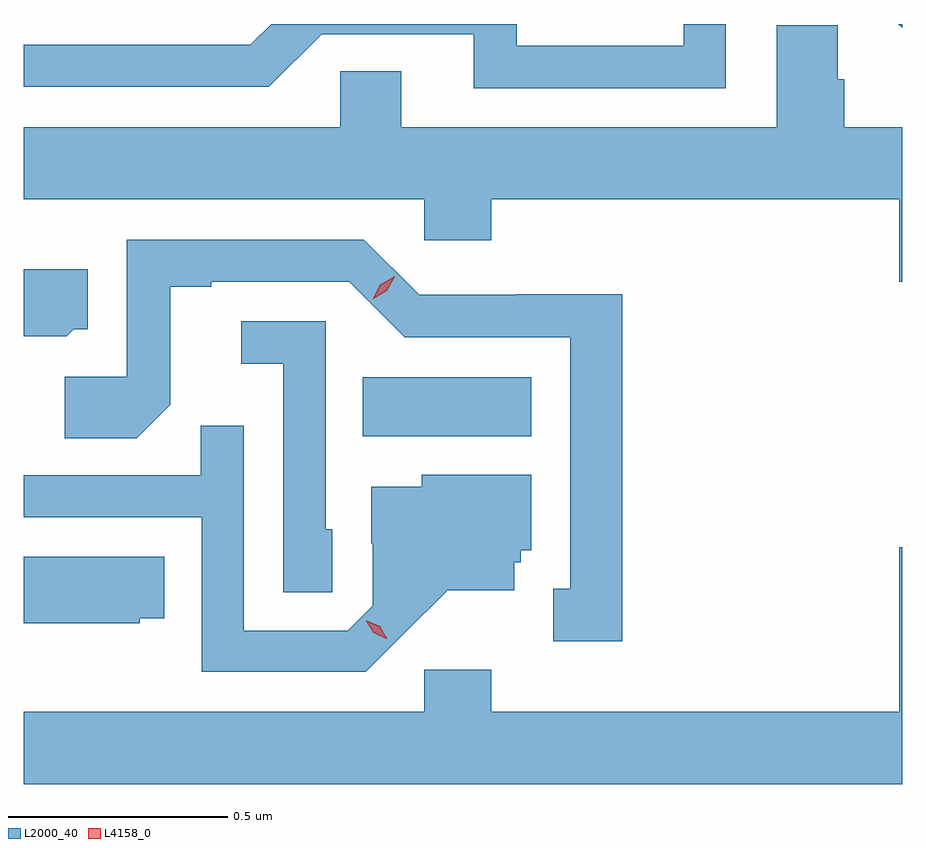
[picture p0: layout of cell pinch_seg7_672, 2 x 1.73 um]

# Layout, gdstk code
import gdstk
lib = gdstk.Library(unit=1e-6, precision=1e-09)
def R(c, l, rs):  # rectangles x0, y0, x1, y1
    for r in rs: c.add(gdstk.rectangle(r[:2], r[2:], *l))
def P(c, l, *ps):  # polygons
    for p in ps: c.add(gdstk.Polygon(p, *l))
L2000_40 = (2000, 40)
L4158_0 = (4158, 0)

pinch_seg7_672 = lib.new_cell('pinch_seg7_672')
R(pinch_seg7_672, L2000_40, [(139.81,1013.396,140.194,1013.53)])
P(pinch_seg7_672, L2000_40, [(141.038,1014.335),(141.029,1014.335),(141.038,1014.326)],
  [(140.637,1014.335),(140.541,1014.335),(140.541,1014.285),(140.16,1014.285),(140.16,1014.335),(139.601,1014.335),(139.554,1014.288),(139.038,1014.288),(139.038,1014.192),(139.596,1014.192),(139.716,1014.312),(140.063,1014.312),(140.063,1014.189),(140.637,1014.189)],
  [(141.038,1014.1),(140.906,1014.1),(140.906,1014.209),(140.892,1014.209),(140.892,1014.332),(140.753,1014.332),(140.753,1014.1),(139.897,1014.1),(139.897,1014.227),(139.758,1014.227),(139.758,1014.1),(139.038,1014.1),(139.038,1013.936),(139.95,1013.936),(139.95,1013.843),(140.102,1013.843),(140.102,1013.936),(141.032,1013.936),(141.032,1013.748),(141.038,1013.748)],
  [(140.401,1013.72),(140.16,1013.72),(140.16,1013.718),(139.938,1013.718),(139.812,1013.844),(139.272,1013.844),(139.272,1013.532),(139.131,1013.532),(139.131,1013.392),(139.295,1013.392),(139.371,1013.468),(139.371,1013.736),(139.465,1013.736),(139.465,1013.748),(139.779,1013.748),(139.905,1013.622),(140.282,1013.622),(140.282,1013.049),(140.243,1013.049),(140.243,1012.929),(140.401,1012.929)],
  [(139.152,1013.64),(139.183,1013.64),(139.183,1013.776),(139.038,1013.776),(139.038,1013.624),(139.136,1013.624)],
  [(139.74,1013.184),(139.725,1013.184),(139.725,1013.658),(139.533,1013.658),(139.533,1013.561),(139.629,1013.561),(139.629,1013.041),(139.74,1013.041)],
  [(139.9,1012.943),(140.003,1013.045),(140.155,1013.045),(140.155,1013.109),(140.169,1013.109),(140.169,1013.136),(140.194,1013.136),(140.194,1013.308),(139.944,1013.308),(139.944,1013.281),(139.829,1013.281),(139.829,1013.152),(139.833,1013.152),(139.833,1013.01),(139.776,1012.953),(139.539,1012.953),(139.539,1013.42),(139.441,1013.42),(139.441,1013.307),(139.038,1013.307),(139.038,1013.211),(139.443,1013.211),(139.443,1012.86),(139.816,1012.86)],
  [(139.95,1012.864),(139.95,1012.768),(139.038,1012.768),(139.038,1012.604),(141.038,1012.604),(141.038,1013.143),(141.032,1013.143),(141.032,1012.768),(140.102,1012.768),(140.102,1012.864)],
  [(139.302,1012.982),(139.358,1012.982),(139.358,1013.122),(139.038,1013.122),(139.038,1012.97),(139.302,1012.97)])
P(pinch_seg7_672, L4158_0, [(139.832,1013.708),(139.832,1013.708),(139.85,1013.741),(139.882,1013.76),(139.882,1013.76),(139.882,1013.759),(139.864,1013.727),(139.833,1013.708)],
  [(139.866,1012.934),(139.835,1012.948),(139.817,1012.977),(139.817,1012.977),(139.817,1012.977),(139.848,1012.963),(139.866,1012.934),(139.866,1012.934)])

lib.write_gds('pinch_seg7_672.gds')
